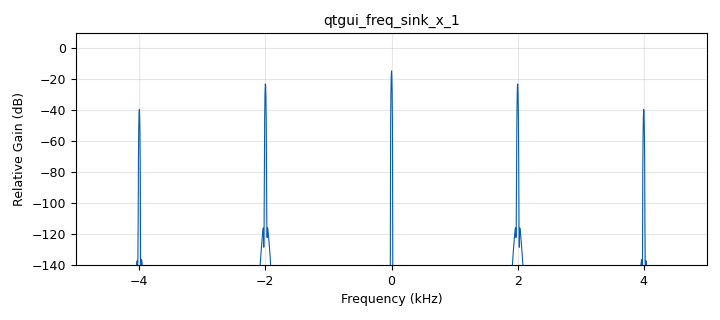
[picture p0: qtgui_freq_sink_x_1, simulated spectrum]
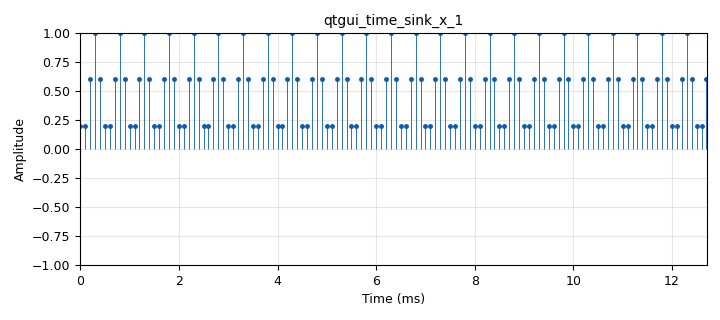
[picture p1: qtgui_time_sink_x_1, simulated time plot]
options:
  parameters:
    author: Meyer_Suarez_Tatiana_Zarate_E1B_G1
    generate_options: qt_gui
    id: Lab_Comu_1_Tutorial
    output_language: python
    title: Diagrama_1
  states: {}

blocks:
- name: freq
  id: variable_qtgui_range
  parameters:
    label: frequency
    start: '1000'
    step: '1000'
    stop: '40000'
    value: '2000'
  states: {}
- name: samp_rate
  id: variable_qtgui_range
  parameters:
    label: frecuencia de muestreo
    start: '1000'
    step: '1000'
    stop: '80000'
    value: '10000'
  states: {}
- name: analog_sig_source_x_0
  id: analog_sig_source_x
  parameters:
    amp: '1'
    freq: freq
    offset: '0'
    phase: '0'
    samp_rate: samp_rate
    type: float
    waveform: analog.GR_TRI_WAVE
  states: {}
- name: blocks_throttle_0
  id: blocks_throttle
  parameters:
    samples_per_second: samp_rate
    type: float
  states: {}
- name: qtgui_freq_sink_x_1
  id: qtgui_freq_sink_x
  parameters:
    bw: samp_rate
    fc: '0'
    fftsize: '2048'
    type: float
  states: {}
- name: qtgui_time_sink_x_1
  id: qtgui_time_sink_x
  parameters:
    size: '128'
    srate: samp_rate
    stemplot: 'True'
    type: float
  states: {}

connections:
- [analog_sig_source_x_0, '0', blocks_throttle_0, '0']
- [blocks_throttle_0, '0', qtgui_freq_sink_x_1, '0']
- [blocks_throttle_0, '0', qtgui_time_sink_x_1, '0']

metadata:
  file_format: 1
  grc_version: 3.9.8.0
